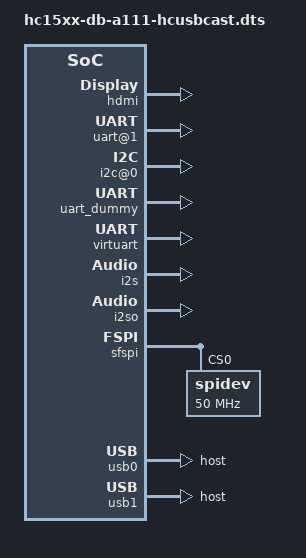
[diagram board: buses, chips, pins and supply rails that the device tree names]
/dts-v1/;

#include <dt-bindings/gpio/gpio.h>
#include <uapi/hcuapi/pinpad.h>

#define CONFIG_MEMORY_SIZE 0x04000000

#if (CONFIG_MEMORY_SIZE == 0x04000000)
#define CONFIG_MEDIAPLAYER_ROTATE_HIGH_QUALITY 0 
#else
//0:MAX SCALE FACTOR:1/2
//1:MAX SCALE FACTOR:1:1(NEED MORE MEMORY)
#define CONFIG_MEDIAPLAYER_ROTATE_HIGH_QUALITY 1
#endif

#define CONFIG_VIDEO_IN_SHARE_WITH_VDEC 1
#define CONFIG_HDMI_RX_SUPPORT 0
#define CONFIG_VIN_DVP_SUPPORT 0
#define CONFIG_VIN_TVDEC_SUPPORT 0 
#define CONFIG_VIDEO_IN_SUPPORT (CONFIG_HDMI_RX_SUPPORT | CONFIG_VIN_DVP_SUPPORT | CONFIG_VIN_TVDEC_SUPPORT)
#define CONFIG_DE4K_OUTPUT_SUPPORT 0
#define CONFIG_DUAL_OUTPUT_SUPPORT 0
#define CONFIG_VGA_OUTPUT_SUPPORT 0
#define CONFIG_CVBS_OUTPUT_SUPPORT 0

#define CONFIG_MM_FB_SIZE (0x10cf200)
#define CONFIG_MM_VBV_SIZE (0x12c000)
#define CONFIG_MM_MF_SIZE (0x198c00)
#define CONFIG_MM_VIN_FB_SIZE (1920*1088*2*3)
#define CONFIG_MM_VC_FB_SIZE (736*576*2*2)

#define MAX_EXTRA_FB_NUM (3)
#define MAX_REF_FB_NUM (5)		//if usb wired cast:MIN NUM:5
#define MAX_TOTAL_FB_NUM (MAX_REF_FB_NUM + MAX_EXTRA_FB_NUM)
#define MAX_WIDTH (1920)
#define MAX_HEIGHT (1088)
#define MAX_MB_WIDTH (MAX_WIDTH / 16)
#define MAX_MB_HEIGHT (MAX_HEIGHT / 16)
#define ONE_MV_SIZE (32 * MAX_MB_WIDTH * MAX_MB_HEIGHT)
#define AVC_MV_SIZE (ONE_MV_SIZE * MAX_TOTAL_FB_NUM)
#define AVC_MB_COL_SIZE (0x3000 * MAX_TOTAL_FB_NUM)
#if (CONFIG_MEDIAPLAYER_ROTATE_HIGH_QUALITY == 1)
#define MAX_SCALE_BUF_NUM (13 - MAX_TOTAL_FB_NUM)
#else
#define MAX_SCALE_BUF_NUM (0)
#endif
#define AVC_TOTAL_FB_SIZE (MAX_WIDTH*MAX_HEIGHT*3/2*(MAX_TOTAL_FB_NUM+MAX_SCALE_BUF_NUM))
#define AVC_MEM_SIZE ((AVC_TOTAL_FB_SIZE + AVC_MB_COL_SIZE + AVC_MV_SIZE+ 1023)&0xFFFFFFC00 )

#define CONFIG_AVC_MB_NEI_SIZE (0xf000)
#define CONFIG_AVC_CMD_QUEUE_SIZE (0x10000)
#define CONFIG_AVC_VBV_SIZE (0x80000)
#define CONFIG_AVC_MEM_SIZE AVC_MEM_SIZE
#define CONFIG_AVC_TOTAL_SIZE                                                  \
	(CONFIG_AVC_MB_NEI_SIZE + CONFIG_AVC_CMD_QUEUE_SIZE +                  \
	 CONFIG_AVC_VBV_SIZE + CONFIG_AVC_MEM_SIZE)

#define __HCRTOS_MMZ0_SIZE                                                     \
	(CONFIG_AVC_TOTAL_SIZE +                                               \
	 (CONFIG_DUAL_OUTPUT_SUPPORT * CONFIG_MM_VC_FB_SIZE) +               \
	 ((CONFIG_VIDEO_IN_SUPPORT && (!CONFIG_VIDEO_IN_SHARE_WITH_VDEC)) * CONFIG_MM_VIN_FB_SIZE))

#define HCRTOS_MMZ_BLOCKLOG (12)
#define HCRTOS_MMZ0_SIZE                                                       \
	(__HCRTOS_MMZ0_SIZE +                                                  \
	 (16 * (__HCRTOS_MMZ0_SIZE >> HCRTOS_MMZ_BLOCKLOG)) +                  \
	 (16 << HCRTOS_MMZ_BLOCKLOG))
#define HCRTOS_MMZ0_OFFSET (CONFIG_MEMORY_SIZE - HCRTOS_MMZ0_SIZE)

#define HCRTOS_SYSMEM_SIZE (CONFIG_MEMORY_SIZE - HCRTOS_MMZ0_SIZE)
#define HCRTOS_SYSMEM_OFFSET (0)

#define HCRTOS_BOOTMEM_SIZE (0x1000000)
#define HCRTOS_BOOTMEM_OFFSET (((HCRTOS_SYSMEM_SIZE < 0xc000000 ? HCRTOS_SYSMEM_SIZE : 0xc000000) - 0x1000000) & 0xffff0000)

/{
hcrtos {
	#address-cells = <1>;
	#size-cells = <1>;
	memory-mapping {
		#address-cells = <1>;
		#size-cells = <1>;
		bootmem {
			reg = <HCRTOS_BOOTMEM_OFFSET HCRTOS_BOOTMEM_SIZE>;
		};

		sysmem {
			reg = <HCRTOS_SYSMEM_OFFSET HCRTOS_SYSMEM_SIZE>;
		};

		mmz0 {
			id = <0>;
			reg = <HCRTOS_MMZ0_OFFSET HCRTOS_MMZ0_SIZE>;
			blocklog = <HCRTOS_MMZ_BLOCKLOG>;
		};
	};

	board {
		label = "hc1512a@dbA110";
	};

	scpu {
		/*
		 * 0 : 594M
		 * 1 : 396M
		 * 2 : 297M
		 * 3 : 198M
		 * 4 : 198M
		 * 5 : 198M
		 * 6 : 198M
		 * 7 : SCPU dig pll clk
		 */
		clock = <7>;
		scpu-dig-pll-clk = <810>;
	};

	standby {
		ir = <28>;  	// key val
//		ddr-gpio = <111 0>; // pinpad plarity
	};


	hdmi {
		/*
		 * 0: fxde
		 * 1: de4k
		 * 2: hdmi rx
		 * 3: pq rgb
		 */
		tx_source = <CONFIG_DE4K_OUTPUT_SUPPORT>;
		i2c-devpath = "/dev/i2c0";
		pinmux-hotplug = <PINPAD_L27 5>;
		status = "okay";
	};

	video-engine {
		/*
		 * 0 : 170M
		 * 1 : 148M
		 * 2 : 238M
		 * 3 : 266M
		 * 4 : 297M
		 * 5 : 198M
		 * 6 : SCPU dig pll clk/2
		 */
		clock = <4>;
		dynamic-resolution-support = <0>;
		video-in-support = <CONFIG_VIDEO_IN_SUPPORT>;

		mm-fb-size = <CONFIG_MM_FB_SIZE>;
		mm-vbv-size = <CONFIG_MM_VBV_SIZE>;
		mm-mf-size = <CONFIG_MM_MF_SIZE>;
		mm-vin-fb-size = <CONFIG_MM_VIN_FB_SIZE>;

		avc-extra-fb-num = <MAX_EXTRA_FB_NUM>;
		avc-mb-nei-size = <CONFIG_AVC_MB_NEI_SIZE>;
		avc-cmd-queue-size = <CONFIG_AVC_CMD_QUEUE_SIZE>;
		avc-vbv-size = <CONFIG_AVC_VBV_SIZE>;
		avc-mem-size = <CONFIG_AVC_MEM_SIZE>;
		status = "okay";
	};

	de-engine {
		/*
		 * 0 : 170M
		 * 1 : 148M
		 * 2 : 198M
		 * 3 : 225M
		 * 4 : 297M
		 * 5 : 300M
		 * 6 : DE dig pll clk
		 */
		de4k-clock = <0>;

		dual-output = <CONFIG_DUAL_OUTPUT_SUPPORT>;
		mm-vc-fb-size = <CONFIG_MM_VC_FB_SIZE>;

		de4k-output = <CONFIG_DE4K_OUTPUT_SUPPORT>;
		/*
		 * copy it from avp-custom/components/kernel/source/include/uapi/hcuapi/tvtype.h
		 * TV_PAL = 0,			// (Fh=15.625,fv=50)       PAL4.43 (==PAL_BDGHI)
		 * TV_NTSC = 1,			// (Fh=15.734,Fv=59.94)    NTSC3.58
		 * TV_PAL_M = 2,			// (Fh=15.734,Fv=59.94)    PAL3.58
		 * TV_PAL_N = 3,			// (Fh=15.625,fv=50)       PAL4.43 (changed PAL mode) 
		 * TV_PAL_60 = 4,			// (Fh=15.734,Fv=59.94)
		 * TV_NTSC_443 = 5,		// (Fh=15.734,Fv=59.94)
		 * TV_LINE_720_25 = 6,
		 * TV_LINE_720_30 = 7,
		 * TV_LINE_1080_25 = 8,
		 * TV_LINE_1080_30 = 9,
		 * TV_LINE_1080_50 = 10,
		 * TV_LINE_1080_60 = 11,
		 * TV_LINE_1080_24 = 12,
		 * TV_PAL_NC = 13,			// (Fh=15.625,fv=50)       PAL3.58 (changed PAL mode)
		 * TV_LINE_640X480_50 = 14,
		 * TV_LINE_800X480_60 = 15,
		 * TV_LINE_1024X768_60 = 16,
		 * TV_LINE_1360X768_60 = 17,
		 * TV_LINE_1280X960_60 = 18,
		 * TV_LINE_1280X1024_60 = 19,
		 * TV_LINE_1024X768_50 = 20,
		 * TV_LINE_1080_55 = 21,
		 * TV_LINE_768X1024_60 = 22,
		 * TV_LINE_4096X2160_30 = 23,
		 * TV_LINE_3840X2160_30 = 24,
		 */

		tvtype = <11>;
		cvbs-output = <CONFIG_CVBS_OUTPUT_SUPPORT>;
		vga-output = <CONFIG_VGA_OUTPUT_SUPPORT>;
		status = "okay";
	};

	uart@0 {
		devpath = "/dev/uart0";
		status = "disabled";
	};

	uart@1 {
		pinmux-active = <PINPAD_R05 2 PINPAD_R08 2>;
		devpath = "/dev/uart1";
		status = "okay";
	};

	i2c@0{
		pinmux-active = <PINPAD_L28 3 PINPAD_L29 3>;
		device_type = "hichip,hcrtos-setup-setbit";
		reg_bit = <0xb8800094 18 1>;
		devpath = "/dev/i2c0";
		baudrate = <100000>;
		mode = "master";
		status = "okay";
	};

	uart_dummy {
		devpath = "/dev/uart_dummy";
		status = "okay";
	};

	virtuart {
		devpath = "/dev/virtuart";
		status = "okay";
	};

	stdio {
		serial0 = "/hcrtos/uart@1";
	};

	boot-stdio {
		serial0 = "/hcrtos/uart@1";
	};

	bluetooth {
		devpath = "/dev/uart1";
		status = "disabled";
	};

	i2s {
		status = "okay";
	};

	i2so {
		volume = <255>;
		status = "okay";
	};

	i2si {
		volume = <255>;
		status = "disabled";
	};

	spdif-out {
		status = "disabled";
	};

	irc {
		pinmux-active = <PINPAD_B03 4>;
		linux,rc-map-name = "rc-hcdemo";
		status = "okay";
	};

	persistentmem {
		mtdname = "persistentmem";
		size = <32768>;
		status = "okay";
	};

	sfspi {
		pinmux-active = <PINPAD_R03 1 PINPAD_R02 1 PINPAD_R01 1 PINPAD_R00 1>;
		sclk = <50000000>;
		dma-mode = <1>;
		status = "okay";

		spi_nor_flash {
			spi-tx-bus-width = <1>;
			spi-rx-bus-width = <1>;
			reg = <0>;
			status = "okay";
			partitions {
				part-num = <3>;

				/* part0 is for entire norflash by default */

				part1-label = "boot";
				part1-reg = <0x0 0x4B000>;
				part1-filename = "bootloader.bin";

				part2-label = "firmware";
				part2-reg = <0x4B000 0x195000>;
				part2-filename = "hcusbcast.uImage";

				part3-label = "persistentmem";
				part3-reg = <0x1e0000 0x20000>;
				part3-filename = "persistentmem.bin";
			};
		};

		spidev@0 {
			devpath = "/dev/spidev0";
			reg = <0>;
			spi-max-frequency = <50000000>;
			status = "okay";
		};
	};

#if (CONFIG_DE4K_OUTPUT_SUPPORT == 1)
#define CONFIG_FB0_REG 0xb883a000
#define CONFIG_FB1_REG 0xb883a080
#else
#define CONFIG_FB0_REG 0xb8808000
#define CONFIG_FB1_REG 0xb8808080
#endif

	fb0 {
		bits_per_pixel = <16>;
		xres = <1280>;
		yres = <720>;
		xres_virtual = <1280>;
		yres_virtual = <720>;
		xoffset = <0>;
		yoffset = <0>;

		scale = <1280 720 1920 1080>;

		reg = <CONFIG_FB0_REG 0x1000>;
		/*
		 * frame buffer memory from:
		 * system : malloc buffer from system heap
		 * mmz0   : malloc buffer from mmz0
		 * none   : set buffer by user
		 * default is system if the property is missing
		 * extra-buffer-size = <0x9CA000>;
		 */
		buffer-source = "system";
		extra-buffer-size = <0x3b9000>;
		//extra-buffer-size = <0x86400>;
		status = "okay";
	};

	fb1 {
		reg = <CONFIG_FB1_REG 0x1000>;
		status = "disabled";
	};

	rotate {
		/*
		 * anticlockwise,
		 * support 0/90/180/270 degree.
		 */
		rotate = <0>;

		/*
		* value is 0 or 1, support fliping may use more fb memory
		* flip_support = 1, support fb fliped
		*/
		flip_support = <0>;

		/*
		 * value is 0 or 1
		 * h_flip = 1 is horizontally fliped
		 * v_flip = 1 is vertically fliped
		 */
		h_flip = <0>;
		v_flip = <0>;

		status = "disabled";
	};

	reset_gpio {
		/*
		* the gpio for reset function
		* gpio_num: the gpio number for reset
		* gpio_active: the valid active level(1 or 0 valid) of gpio.
		*/
		gpio_num = <PINPAD_L26>;
		gpio_active = <0>;
		status = "okay";

	};

	usb0 {  // usb_host0 / usb_peripheral0
		reg = <0x18844000 0x1000>;
		interrupts = <53>,<52>;
		interrupt-names = "mc","dma";
		dr_mode = "host";  // host/peripheral
		index_num = <0>;
		ctrl_base = <0x18800000>;
		status = "okay";
	};

	usb1 {  // usb_host1/ usb_peripheral1
		reg = <0x18850000 0x1000>;
		interrupts = <51>, <50>;
		interrupt-names = "mc", "dma";
		dr_mode = "host";
		index_num = <1>;
		ctrl_base = <0x18800000>;
		status = "okay";
	};
	
	ge: ge@18806000 {
	    reg = <0xb8806000 0x2000>, <0xb8800000 0x1000>;
	    interrupts = <4>; 
	    cmdq_buf_size = <0x3c000>;
	    status = "okay";
    	}; 
	dsc: dsc@0x18870000 {
	     compatible = "hichip,dsc";
	     reg = <0xb8834000 0x1000>;
	     interrupts = <44>;
	     status = "okay";
     	}; 

	viddec {
		kshm_size = <0x1000000>;
	};

	auddec {
		kshm_size = <0x200000>;
	};
};
};
